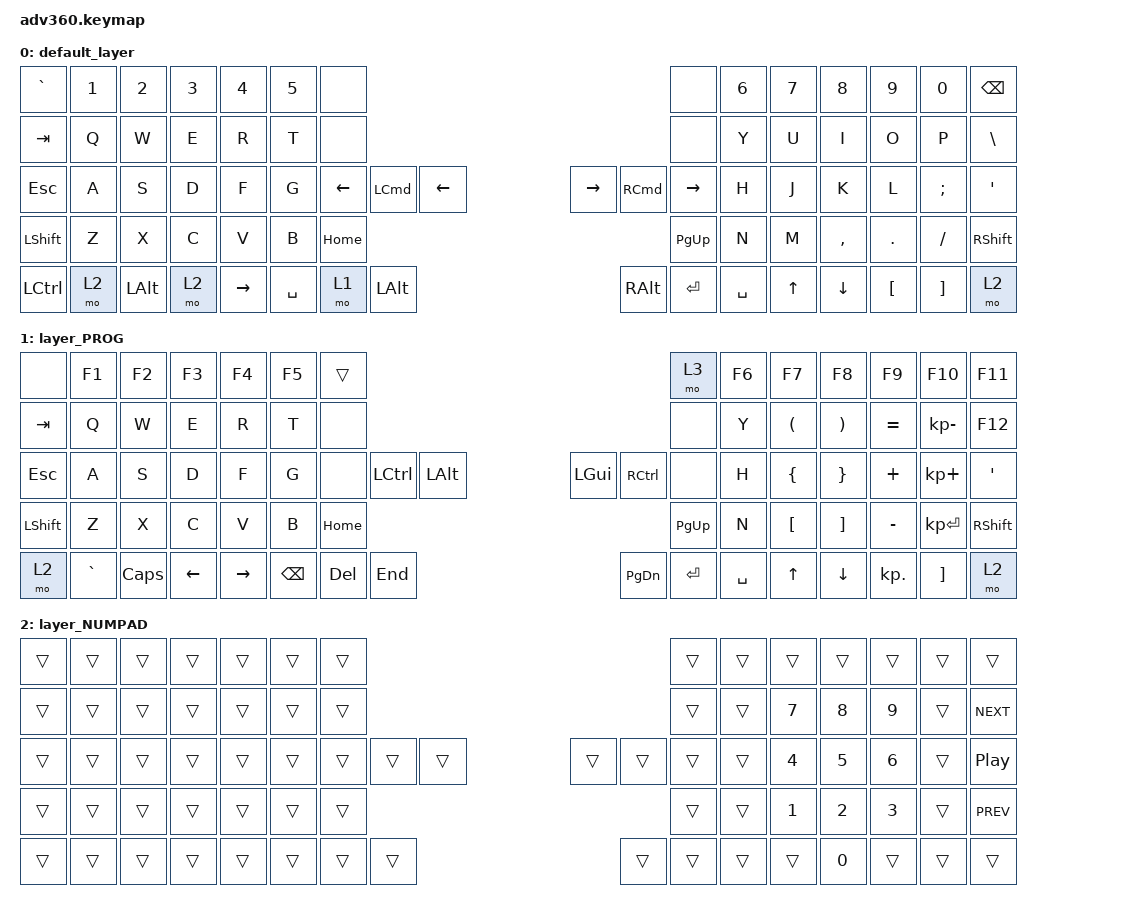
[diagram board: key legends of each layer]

/*
 * Copyright (c) 2020 The ZMK Contributors
 *
 * SPDX-License-Identifier: MIT
 */


/* THIS FILE WAS GENERATED!
 *
 * This file was generated automatically. You may or may not want to
 * edit it directly.
 */

#include <behaviors.dtsi>
#include <dt-bindings/zmk/keys.h>

/ {
  behaviors {
    #include "macros.dtsi"
    #include "version.dtsi"

    hm: homerow_mods {
        compatible = "zmk,behavior-hold-tap";
        label = "HOMEROW_MODS";
        #binding-cells = <2>;
        tapping-term-ms = <200>;
        quick_tap_ms = <175>;
        flavor = "tap-preferred";
        bindings = <&kp>, <&kp>;
    };
  };

    keymap {
        compatible = "zmk,keymap";


        default_layer {
            bindings = <
 &kp GRAVE  &kp N1        &kp N2  &kp N3     &kp N4  &kp N5                &none                                                                                            &none  &kp N6  &kp N7     &kp N8    &kp N9    &kp N0  &kp BACKSPACE
   &kp TAB   &kp Q         &kp W   &kp E      &kp R   &kp T                &none                                                                                            &none   &kp Y   &kp U      &kp I     &kp O     &kp P       &kp BSLH
   &kp ESC   &kp A         &kp S   &kp D      &kp F   &kp G             &kp LEFT  &kp LEFT_COMMAND  &kp LEFT_ARROW                  &kp RIGHT_ARROW  &kp RIGHT_COMMAND  &kp RIGHT   &kp H   &kp J      &kp K     &kp L  &kp SEMI        &kp SQT
 &kp LSHFT   &kp Z         &kp X   &kp C      &kp V   &kp B                                               &kp HOME                        &kp PG_UP                                 &kp N   &kp M  &kp COMMA   &kp DOT  &kp FSLH      &kp RSHFT
 &kp LCTRL   &mo 2  &kp LEFT_ALT   &mo 2  &kp RIGHT                    &kp SPACE             &mo 1    &kp LEFT_ALT                    &kp RIGHT_ALT          &kp ENTER  &kp SPACE          &kp UP   &kp DOWN  &kp LBKT  &kp RBKT          &mo 2
            >;
        };

        layer_PROG {
            bindings = <
     &none     &kp F1    &kp F2    &kp F3     &kp F4  &kp F5              &trans                                                                 &mo 3  &kp F6                &kp F7                 &kp F8      &kp F9       &kp F10    &kp F11
   &kp TAB      &kp Q     &kp W     &kp E      &kp R   &kp T               &none                                                                 &none   &kp Y  &kp LEFT_PARENTHESIS  &kp RIGHT_PARENTHESIS   &kp EQUAL  &kp KP_MINUS    &kp F12
   &kp ESC      &kp A     &kp S     &kp D      &kp F   &kp G               &none  &kp LCTRL  &kp LALT                   &kp LGUI  &kp RCTRL      &none   &kp H        &kp LEFT_BRACE        &kp RIGHT_BRACE    &kp PLUS   &kp KP_PLUS    &kp SQT
 &kp LSHFT      &kp Z     &kp X     &kp C      &kp V   &kp B                                 &kp HOME                  &kp PG_UP                         &kp N      &kp LEFT_BRACKET      &kp RIGHT_BRACKET   &kp MINUS  &kp KP_ENTER  &kp RSHFT
     &mo 2  &kp GRAVE  &kp CAPS  &kp LEFT  &kp RIGHT                    &kp BSPC    &kp DEL   &kp END                  &kp PG_DN  &kp ENTER  &kp SPACE                        &kp UP               &kp DOWN  &kp KP_DOT      &kp RBKT      &mo 2
            >;
        };

        layer_NUMPAD {
            bindings = <
 &trans  &trans  &trans  &trans  &trans  &trans            &trans                                                  &trans  &trans  &trans  &trans  &trans  &trans      &trans
 &trans  &trans  &trans  &trans  &trans  &trans            &trans                                                  &trans  &trans  &kp N7  &kp N8  &kp N9  &trans  &kp C_NEXT
 &trans  &trans  &trans  &trans  &trans  &trans            &trans  &trans  &trans                  &trans  &trans  &trans  &trans  &kp N4  &kp N5  &kp N6  &trans    &kp C_PP
 &trans  &trans  &trans  &trans  &trans  &trans                            &trans                  &trans                  &trans  &kp N1  &kp N2  &kp N3  &trans  &kp C_PREV
 &trans  &trans  &trans  &trans  &trans                    &trans  &trans  &trans                  &trans  &trans  &trans          &trans  &kp N0  &trans  &trans      &trans
            >;
        };

    };
};
